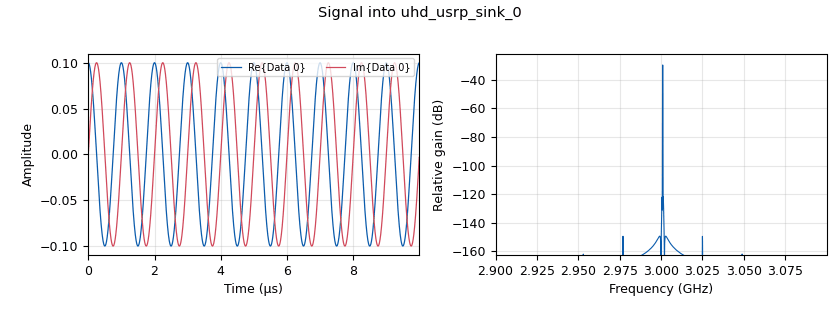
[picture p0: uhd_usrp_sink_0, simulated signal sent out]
options:
  parameters:
    generate_options: qt_gui
    id: single_tone_Brian
    output_language: python
    title: Not titled yet
  states: {}

blocks:
- name: Dev_IP_sdr1_in2
  id: variable
  parameters:
    value: '"mgmt_addr=10.37.6.2,addr=10.38.6.2"'
  states: {}
- name: freq
  id: variable
  parameters:
    value: 3e9
  states: {}
- name: samp_rate
  id: variable
  parameters:
    value: 200e6
  states: {}
- name: analog_sig_source_x_0
  id: analog_sig_source_x
  parameters:
    amp: '0.1'
    freq: 1e6
    offset: '0'
    phase: '0'
    samp_rate: samp_rate
    type: complex
    waveform: analog.GR_COS_WAVE
  states: {}
- name: qtgui_freq_sink_x_0
  id: qtgui_freq_sink_x
  parameters:
    bw: samp_rate
    fc: '0'
    fftsize: '1024'
    type: complex
    wintype: firdes.WIN_BLACKMAN_hARRIS
  states: {}
- name: uhd_usrp_sink_0
  id: uhd_usrp_sink
  parameters:
    ant0: TX/RX
    center_freq0: freq
    comment: USRP Sink = Tx USRP
    dev_args: Dev_IP_sdr1_in2
    gain0: '40'
    len_tag_name: ''
    norm_gain0: 'False'
    otw: sc16
    samp_rate: samp_rate
    sd_spec0: B:1
    sync: sync
    type: fc32
  states: {}
- name: uhd_usrp_source_0
  id: uhd_usrp_source
  parameters:
    ant0: RX2
    center_freq0: freq
    dc_offs_enb0: '""'
    dev_args: '"mgmt_addr=10.37.6.1,addr=10.38.6.1"'
    gain0: '40'
    iq_imbal_enb0: '""'
    norm_gain0: 'False'
    samp_rate: samp_rate
    sd_spec0: B:1
    sync: sync
    type: fc32
  states: {}

connections:
- [analog_sig_source_x_0, '0', uhd_usrp_sink_0, '0']
- [uhd_usrp_source_0, '0', qtgui_freq_sink_x_0, '0']

metadata:
  file_format: 1
